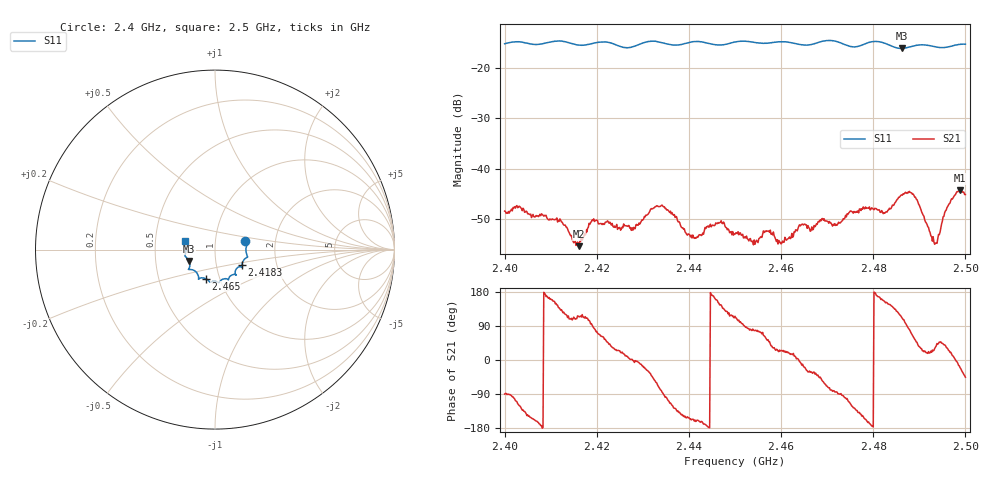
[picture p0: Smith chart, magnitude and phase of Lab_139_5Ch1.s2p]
# Hz S RI R 50
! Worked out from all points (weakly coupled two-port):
!   601 points, 2.4 GHz to 2.5 GHz, reference 50 ohm
!   highest |S21| = -44.34 dB at 2.4988 GHz (marker M1); lowest = -55.5 dB at 2.4162 GHz (marker M2)
!   lowest |S11| = -16.1 dB at 2.4862 GHz (marker M3), VSWR 1.37, Z = 37.1 - j4.81 ohm
!   |S11| at or under -10 dB: start of sweep to end of sweep
!   S12 and S22 are empty: the file has one direction only
!   S11 on the Smith chart (normalised r, x): 2.4 GHz: 1.40, +0.13; 2.4183 GHz: 1.33, -0.24; 2.465 GHz: 0.86, -0.29; 2.5 GHz: 0.71, +0.07
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2.4e9  0.1691 0.0459  5.64e-06 -0.00378  0 0  0 0
2.411667e9  0.1821 -0.0408  -0.00228 0.00203  0 0  0 0
2.416167e9  0.1576 -0.0626  -0.00068 0.00155  0 0  0 0
2.416667e9  0.1549 -0.0682  -0.000819 0.00188  0 0  0 0
2.418333e9  0.1498 -0.0871  -0.000715 0.00276  0 0  0 0
2.427833e9  0.1138 -0.1173  0.00244 -4.68e-05  0 0  0 0
2.433333e9  0.1173 -0.1408  0.00149 -0.00392  0 0  0 0
2.440833e9  0.0754 -0.1676  -0.002 -0.000871  0 0  0 0
2.4465e9  0.0485 -0.1633  -0.00248 0.00145  0 0  0 0
2.45e9  0.0251 -0.1808  -0.000953 0.00201  0 0  0 0
2.4545e9  0.0114 -0.1794  0.000371 0.00183  0 0  0 0
2.457167e9  -0.0112 -0.1776  0.00141 0.00192  0 0  0 0
2.460167e9  -0.0281 -0.1816  0.00165 0.000772  0 0  0 0
2.465e9  -0.0525 -0.1618  0.00264 -0.000901  0 0  0 0
2.466667e9  -0.0714 -0.1572  0.00221 -0.00142  0 0  0 0
2.483333e9  -0.1415 -0.0964  -0.00327 0.00208  0 0  0 0
2.486167e9  -0.1441 -0.0631  -0.0021 0.00505  0 0  0 0
2.489167e9  -0.1635 -0.0401  0.0032 0.00409  0 0  0 0
2.493333e9  -0.163 -0.0168  0.00152 0.000886  0 0  0 0
2.496e9  -0.1611 0.0166  0.00348 0.00215  0 0  0 0
2.498833e9  -0.168 0.0413  0.0057 -0.00207  0 0  0 0
2.5e9  -0.1671 0.047  0.00387 -0.00393  0 0  0 0
